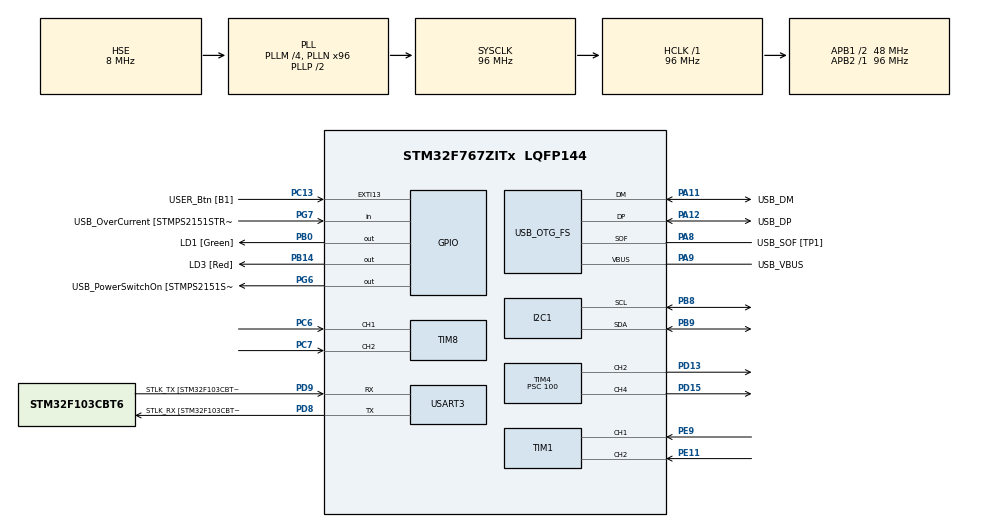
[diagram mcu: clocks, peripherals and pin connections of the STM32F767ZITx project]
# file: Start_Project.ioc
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CORTEX_M7.default_mode_Activation=1
I2C1.Timing=0x20303E5D
Mcu.Family=STM32F7
Mcu.Name=STM32F767ZITx
Mcu.Package=LQFP144
NVIC.PriorityGroup=NVIC_PRIORITYGROUP_4
NVIC.TIM3_IRQn=true\:0\:0\:false\:false\:true\:true\:true\:true
NVIC.USART3_IRQn=true\:0\:0\:false\:false\:true\:true\:true\:true
PA1.GPIO_Label=RMII_REF_CLK [LAN8742A-CZ-TR_REFCLK0]
PA1.Signal=ETH_REF_CLK
PA10.GPIO_Label=USB_ID
PA10.Signal=USB_OTG_FS_ID
PA11.GPIO_Label=USB_DM
PA11.Mode=Device_Only
PA11.Signal=USB_OTG_FS_DM
PA12.GPIO_Label=USB_DP
PA12.Mode=Device_Only
PA12.Signal=USB_OTG_FS_DP
PA13.GPIO_Label=TMS
PA13.Mode=Serial_Wire
PA13.Signal=SYS_JTMS-SWDIO
PA14.GPIO_Label=TCK
PA14.Mode=Serial_Wire
PA14.Signal=SYS_JTCK-SWCLK
PA2.GPIO_Label=RMII_MDIO [LAN8742A-CZ-TR_MDIO]
PA2.Signal=ETH_MDIO
PA8.GPIO_Label=USB_SOF [TP1]
PA8.Mode=Activate_SOF_FS
PA8.Signal=USB_OTG_FS_SOF
PA9.GPIO_Label=USB_VBUS
PA9.Mode=Activate_VBUS
PA9.Signal=USB_OTG_FS_VBUS
PB0.GPIO_Label=LD1 [Green]
PB0.Signal=GPIO_Output
PB13.GPIO_Label=RMII_TXD1 [LAN8742A-CZ-TR_TXD1]
PB13.Signal=ETH_TXD1
PB14.GPIO_Label=LD3 [Red]
PB14.Signal=GPIO_Output
PB3.GPIO_Label=SWO
PB3.Signal=SYS_JTDO-SWO
PB8.Mode=I2C
PB8.Signal=I2C1_SCL
PB9.Mode=I2C
PB9.Signal=I2C1_SDA
PC1.GPIO_Label=RMII_MDC [LAN8742A-CZ-TR_MDC]
PC1.Signal=ETH_MDC
PC13.GPIO_Label=USER_Btn [B1]
PC13.Signal=GPXTI13
PC14/OSC32_IN.Mode=LSE-External-Oscillator
PC14/OSC32_IN.Signal=RCC_OSC32_IN
PC15/OSC32_OUT.Mode=LSE-External-Oscillator
PC15/OSC32_OUT.Signal=RCC_OSC32_OUT
PC4.GPIO_Label=RMII_RXD0 [LAN8742A-CZ-TR_RXD0]
PC4.Signal=ETH_RXD0
PC5.GPIO_Label=RMII_RXD1 [LAN8742A-CZ-TR_RXD1]
PC5.Signal=ETH_RXD1
PC6.GPIO_PuPd=GPIO_PULLUP
PC6.Signal=S_TIM8_CH1
PC7.GPIO_PuPd=GPIO_PULLUP
PC7.Signal=S_TIM8_CH2
PD13.Signal=S_TIM4_CH2
PD15.Signal=S_TIM4_CH4
PD8.GPIO_Label=STLK_RX [STM32F103CBT6_PA3]
PD8.Mode=Asynchronous
PD8.Signal=USART3_TX
PD9.GPIO_Label=STLK_TX [STM32F103CBT6_PA2]
PD9.Mode=Asynchronous
PD9.Signal=USART3_RX
PE11.GPIO_PuPd=GPIO_PULLUP
PE11.Signal=S_TIM1_CH2
PE9.GPIO_PuPd=GPIO_PULLUP
PE9.Signal=S_TIM1_CH1
PG11.GPIO_Label=RMII_TX_EN [LAN8742A-CZ-TR_TXEN]
PG11.Signal=ETH_TX_EN
PG13.GPIO_Label=RMII_TXD0 [LAN8742A-CZ-TR_TXD0]
PG13.Signal=ETH_TXD0
PG6.GPIO_Label=USB_PowerSwitchOn [STMPS2151STR_EN]
PG6.Signal=GPIO_Output
PG7.GPIO_Label=USB_OverCurrent [STMPS2151STR_FAULT]
PG7.Signal=GPIO_Input
PH0/OSC_IN.GPIO_Label=MCO [STM32F103CBT6_PA8]
PH0/OSC_IN.Mode=HSE-External-Clock-Source
PH0/OSC_IN.Signal=RCC_OSC_IN
PH1/OSC_OUT.Mode=HSE-External-Clock-Source
PH1/OSC_OUT.Signal=RCC_OSC_OUT
ProjectManager.HeapSize=0x200
ProjectManager.StackSize=0x400
ProjectManager.TargetToolchain=STM32CubeIDE
RCC.48MHZClocksFreq_Value=24000000
RCC.AHBFreq_Value=96000000
RCC.APB1CLKDivider=RCC_HCLK_DIV2
RCC.APB1Freq_Value=48000000
RCC.APB1TimFreq_Value=96000000
RCC.APB2Freq_Value=96000000
RCC.APB2TimFreq_Value=96000000
RCC.CortexFreq_Value=96000000
RCC.HCLKFreq_Value=96000000
RCC.HSE_VALUE=8000000
RCC.HSI_VALUE=16000000
RCC.PLLM=4
RCC.PLLMUL=RCC_PLL_MUL9
RCC.PLLN=96
RCC.PLLQ=4
RCC.PRESCALERUSB=RCC_USBCLKSOURCE_PLL_DIV1_5
RCC.SYSCLKFreq_VALUE=96000000
RCC.SYSCLKSource=RCC_SYSCLKSOURCE_PLLCLK
RCC.SYSCLKSourceVirtual=RCC_SYSCLKSOURCE_PLLCLK
RCC.USBFreq_Value=48000000
RCC.VCOOutputFreq_Value=192000000
SH.S_TIM1_CH1.0=TIM1_CH1,Encoder_Interface
SH.S_TIM1_CH2.0=TIM1_CH2,Encoder_Interface
SH.S_TIM4_CH2.0=TIM4_CH2,PWM Generation2 CH2
SH.S_TIM4_CH4.0=TIM4_CH4,PWM Generation4 CH4
SH.S_TIM8_CH1.0=TIM8_CH1,Encoder_Interface
SH.S_TIM8_CH2.0=TIM8_CH2,Encoder_Interface
TIM1.EncoderMode=TIM_ENCODERMODE_TI12
TIM1.IC1Filter=10
TIM1.IC2Filter=10
TIM3.AutoReloadPreload=TIM_AUTORELOAD_PRELOAD_ENABLE
TIM3.Period=1999
TIM3.Prescaler=9599
TIM4.Channel-PWM\ Generation2\ CH2=TIM_CHANNEL_2
TIM4.Channel-PWM\ Generation4\ CH4=TIM_CHANNEL_4
TIM4.Period=1000
TIM4.Prescaler=100
TIM8.EncoderMode=TIM_ENCODERMODE_TI12
TIM8.IC1Filter=10
TIM8.IC2Filter=10
USART3.VirtualMode-Asynchronous=VM_ASYNC
USB_OTG_FS.VirtualMode=Device_Only
VP_TIM3_VS_ClockSourceINT.Mode=Internal
board=NUCLEO-F767ZI

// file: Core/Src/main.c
/* USER CODE BEGIN Header */
/**
  ******************************************************************************
  * @file           : main.c
  * @brief          : Main program body
  ******************************************************************************
  * @attention
  *
  * Copyright (c) 2026 STMicroelectronics.
  * All rights reserved.
  *
  * This software is licensed under terms that can be found in the LICENSE file
  * in the root directory of this software component.
  * If no LICENSE file comes with this software, it is provided AS-IS.
  *
  ******************************************************************************
  */
/* USER CODE END Header */
#include "main.h"

/* USER CODE BEGIN Includes */
#include "controller.h"
#include <stdio.h>
#include "ssd1306.h"
#include "ssd1306_fonts.h"
#include <string.h>
#include <stdlib.h>
/* USER CODE END Includes */

I2C_HandleTypeDef hi2c1;

TIM_HandleTypeDef htim1;
TIM_HandleTypeDef htim3;
TIM_HandleTypeDef htim4;
TIM_HandleTypeDef htim8;

UART_HandleTypeDef huart3;

PCD_HandleTypeDef hpcd_USB_OTG_FS;

/* USER CODE BEGIN PV */
volatile uint8_t run_controller_flag = 0;

volatile uint8_t uart_msg_received = 0;

char bufor[50];
int counterskb = 0;
int steop=50;
int luxes = 0;

uint8_t rx_data;
char rx_buffer[50];
uint8_t rx_index = 0;

int position = 0;
uint32_t last_counter_value = 32000;

extern volatile SystemState sys_state;
/* USER CODE END PV */

void SystemClock_Config(void);
static void MPU_Config(void);
static void MX_GPIO_Init(void);
static void MX_USART3_UART_Init(void);
static void MX_USB_OTG_FS_PCD_Init(void);
static void MX_I2C1_Init(void);
static void MX_TIM4_Init(void);
static void MX_TIM1_Init(void);
static void MX_TIM3_Init(void);
static void MX_TIM8_Init(void);

/* USER CODE BEGIN 0 */

extern TIM_HandleTypeDef htim1;
extern TIM_HandleTypeDef htim4;

extern int position; // brightness var
extern uint32_t last_counter_value; // global encoder var

// helper for xor calc
uint8_t Calculate_Checksum(char* str) {
    uint8_t checksum = 0;
    while (*str) {
        checksum ^= *str; // xor every char
        str++;
    }
    return checksum;
}

void Parse_UART_Command() {
    // 1. check checksum
    char *semicolon_ptr = strchr(rx_buffer, ';');
    if (semicolon_ptr != NULL) {
        *semicolon_ptr = 0;
        char *checksum_str = semicolon_ptr + 1;
        int received_checksum = atoi(checksum_str);
        int calculated_checksum = Calculate_Checksum(rx_buffer);

        if (received_checksum != calculated_checksum) {
            static char err_msg[64];
            sprintf(err_msg, "CHECKSUM ERROR (Recv:%d != Calc:%d)\r\n", received_checksum, calculated_checksum);
            // blocking now (100ms timeout)
            HAL_UART_Transmit(&huart3, (uint8_t*)err_msg, strlen(err_msg), 100);
            return;
        }
    }

    // 2. command handling

    // PRCT
    if (strncmp(rx_buffer, "PRCT", 4) == 0) {
        int value = atoi(&rx_buffer[5]);
        if (value > 100) value = 100;
        if (value < 0) value = 0;
        position = value;
        __HAL_TIM_SET_COMPARE(&htim4, TIM_CHANNEL_4, position * 10);

        char *msg = "OK PRCT";
        uint8_t csum = Calculate_Checksum(msg);
        char resp[32];
        sprintf(resp, "%s;%d\r\n", msg, csum);
        // blocking now
        HAL_UART_Transmit(&huart3, (uint8_t*)resp, strlen(resp), 100);
    }

    // SET
    else if (strncmp(rx_buffer, "SET", 3) == 0) {
        int value = atoi(&rx_buffer[4]);
        if (value > 2000) value = 2000;
        if (value < 0) value = 0;

        sys_state.setpoint_lux = value;
        __HAL_TIM_SET_COUNTER(&htim8, value * 2);

        char *msg = "OK SET";
        uint8_t csum = Calculate_Checksum(msg);
        char resp[32];
        sprintf(resp, "%s;%d\r\n", msg, csum);
        // blocking now
        HAL_UART_Transmit(&huart3, (uint8_t*)resp, strlen(resp), 100);
    }

    // GET INFO
    else if (strncmp(rx_buffer, "GET INFO", 8) == 0) {
        char data_part[64];
        char full_msg[80];
        sprintf(data_part, "INFO %d %d", sys_state.setpoint_lux, position);
        uint8_t csum = Calculate_Checksum(data_part);
        sprintf(full_msg, "%s;%d\r\n", data_part, csum);

        // blocking now - crucial for polling stability
        HAL_UART_Transmit(&huart3, (uint8_t*)full_msg, strlen(full_msg), 100);
    }
}

// callback (just for safety)
void HAL_UART_RxCpltCallback(UART_HandleTypeDef *huart)
{
    if (huart->Instance == USART3) {
        if (rx_data == '\n' || rx_data == '\r') {
            rx_buffer[rx_index] = 0;
            // just set flag, don't parse here
            uart_msg_received = 1;
            rx_index = 0;
        }
        else {
            if (rx_index < 49) rx_buffer[rx_index++] = rx_data;
        }
        HAL_UART_Receive_IT(&huart3, &rx_data, 1);
    }
}
/* USER CODE END 0 */

int main(void)
{

  /* MPU Configuration--------------------------------------------------------*/
  MPU_Config();

  /* MCU Configuration--------------------------------------------------------*/

  /* Reset of all peripherals, Initializes the Flash interface and the Systick. */
  HAL_Init();

  /* Configure the system clock */
  SystemClock_Config();

  /* Initialize all configured peripherals */
  MX_GPIO_Init();
  MX_USART3_UART_Init();
  MX_USB_OTG_FS_PCD_Init();
  MX_I2C1_Init();
  MX_TIM4_Init();
  MX_TIM1_Init();
  MX_TIM3_Init();
  MX_TIM8_Init();
  /* USER CODE BEGIN 2 */
  ssd1306_Init();
  ssd1306_Fill(Black);
  ssd1306_UpdateScreen();

  /*check if it sees the device*/
  /*HAL_Delay(100);
    for(uint16_t i=0; i<128; i++) {
        if(HAL_I2C_IsDeviceReady(&hi2c1, (i<<1), 1, 10) == HAL_OK) {
            HAL_GPIO_WritePin(LD1_GPIO_Port, LD1_Pin, GPIO_PIN_SET);
            break;
        }
    }*/
/*
  ssd1306_Init();
  ssd1306_Fill(Black);
  ssd1306_SetCursor(10, 20);
  ssd1306_WriteString("skibidi", Font_11x18, White);
  ssd1306_SetCursor(10, 45);
  ssd1306_WriteString("toilet", Font_7x10, White);
  ssd1306_UpdateScreen();
*/

  	ssd1306_Init();
    ssd1306_Fill(Black);

    // 1. start encoder (now on TIM1)
    HAL_TIM_Encoder_Start(&htim1, TIM_CHANNEL_ALL);

    // 2. start led (now TIM4 CH4)
    HAL_TIM_PWM_Start(&htim4, TIM_CHANNEL_4);

    HAL_TIM_Encoder_Start(&htim8, TIM_CHANNEL_ALL); // encoder 2 (target)
    HAL_TIM_PWM_Start(&htim4, TIM_CHANNEL_2);       // led 2 (pid control)

    HAL_TIM_Base_Start_IT(&htim3);
    HAL_UART_Receive_IT(&huart3, &rx_data, 1);

    uint8_t bh_cmd = 0x10; // cmd: continuous high-res
    HAL_I2C_Master_Transmit(&hi2c1, (0x23 << 1), &bh_cmd, 1, 100);

    // set encoder to center
    __HAL_TIM_SET_COUNTER(&htim1, 32000);
    __HAL_TIM_SET_COUNTER(&htim8, 100);   // target start 100 lux (200/2)
  /* USER CODE END 2 */

  /* Infinite loop */
  /* USER CODE BEGIN WHILE */

  while (1)
  {
	  // controller logic (every 200ms)
	        if (run_controller_flag == 1) {
	            run_controller_flag = 0;
	            Controller_Step();
	        }

	        // >>> NEW: safe uart handling <<<
	        if (uart_msg_received == 1) {
	            uart_msg_received = 0; // clear flag
	            Parse_UART_Command();  // run logic
	        }
    /* USER CODE END WHILE */

    /* USER CODE BEGIN 3 */
	  // need state var
	      extern volatile SystemState sys_state;

	      // --- ENCODER 1 HANDLING (DISTURBANCE) ---
	      // (no changes - controls led 1)
	      uint32_t current_counter = __HAL_TIM_GET_COUNTER(&htim1);
	      int16_t diff = (int16_t)(current_counter - last_counter_value);
	      if (diff != 0) {
	          if(diff > 0) position += 5;
	          else position -= 5;
	          if (position > 100) position = 100;
	          if (position < 0) position = 0;
	          last_counter_value = current_counter;
	      }
	      // drive disturbance led
	      __HAL_TIM_SET_COMPARE(&htim4, TIM_CHANNEL_4, position * 10);

	      // --- OLED DISPLAY ---
	      ssd1306_Fill(Black);

	      // Line 1: TARGET (Setpoint) - turn Encoder 2
	      sprintf(bufor, "AIM: %d Lx", sys_state.setpoint_lux);
	      ssd1306_SetCursor(0, 0);
	      ssd1306_WriteString(bufor, Font_11x18, White);

	      // Line 2: CURRENT (Measurement) - from sensor
	      sprintf(bufor, "ACT: %.1f", sys_state.current_lux);
	      ssd1306_SetCursor(0, 20);
	      ssd1306_WriteString(bufor, Font_11x18, White);

	      // Line 3: PID DIAGNOSTICS (Control LED power)
	      // shows pid effort
	      int pid_pct = sys_state.control_signal / 10; // 0-1000 -> 0-100%
	      sprintf(bufor, "PI:%d%% D:%d%%", pid_pct, position);
	      ssd1306_SetCursor(0, 45);
	      ssd1306_WriteString(bufor, Font_7x10, White);

	      ssd1306_UpdateScreen();
	    }
  /* USER CODE END 3 */
}

void SystemClock_Config(void)
{
  RCC_OscInitTypeDef RCC_OscInitStruct = {0};
  RCC_ClkInitTypeDef RCC_ClkInitStruct = {0};

  /** Configure LSE Drive Capability
  */
  HAL_PWR_EnableBkUpAccess();

  /** Configure the main internal regulator output voltage
  */
  __HAL_RCC_PWR_CLK_ENABLE();
  __HAL_PWR_VOLTAGESCALING_CONFIG(PWR_REGULATOR_VOLTAGE_SCALE3);

  /** Initializes the RCC Oscillators according to the specified parameters
  * in the RCC_OscInitTypeDef structure.
  */
  RCC_OscInitStruct.OscillatorType = RCC_OSCILLATORTYPE_HSE;
  RCC_OscInitStruct.HSEState = RCC_HSE_BYPASS;
  RCC_OscInitStruct.PLL.PLLState = RCC_PLL_ON;
  RCC_OscInitStruct.PLL.PLLSource = RCC_PLLSOURCE_HSE;
  RCC_OscInitStruct.PLL.PLLM = 4;
  RCC_OscInitStruct.PLL.PLLN = 96;
  RCC_OscInitStruct.PLL.PLLP = RCC_PLLP_DIV2;
  RCC_OscInitStruct.PLL.PLLQ = 4;
  RCC_OscInitStruct.PLL.PLLR = 2;
  if (HAL_RCC_OscConfig(&RCC_OscInitStruct) != HAL_OK)
  {
    Error_Handler();
  }

  /** Activate the Over-Drive mode
  */
  if (HAL_PWREx_EnableOverDrive() != HAL_OK)
  {
    Error_Handler();
  }

  /** Initializes the CPU, AHB and APB buses clocks
  */
  RCC_ClkInitStruct.ClockType = RCC_CLOCKTYPE_HCLK|RCC_CLOCKTYPE_SYSCLK
                              |RCC_CLOCKTYPE_PCLK1|RCC_CLOCKTYPE_PCLK2;
  RCC_ClkInitStruct.SYSCLKSource = RCC_SYSCLKSOURCE_PLLCLK;
  RCC_ClkInitStruct.AHBCLKDivider = RCC_SYSCLK_DIV1;
  RCC_ClkInitStruct.APB1CLKDivider = RCC_HCLK_DIV2;
  RCC_ClkInitStruct.APB2CLKDivider = RCC_HCLK_DIV1;

  if (HAL_RCC_ClockConfig(&RCC_ClkInitStruct, FLASH_LATENCY_3) != HAL_OK)
  {
    Error_Handler();
  }
}

static void MX_I2C1_Init(void)
{

  hi2c1.Instance = I2C1;
  hi2c1.Init.Timing = 0x20303E5D;
  hi2c1.Init.OwnAddress1 = 0;
  hi2c1.Init.AddressingMode = I2C_ADDRESSINGMODE_7BIT;
  hi2c1.Init.DualAddressMode = I2C_DUALADDRESS_DISABLE;
  hi2c1.Init.OwnAddress2 = 0;
  hi2c1.Init.OwnAddress2Masks = I2C_OA2_NOMASK;
  hi2c1.Init.GeneralCallMode = I2C_GENERALCALL_DISABLE;
  hi2c1.Init.NoStretchMode = I2C_NOSTRETCH_DISABLE;
  if (HAL_I2C_Init(&hi2c1) != HAL_OK)
  {
    Error_Handler();
  }

  /** Configure Analogue filter
  */
  if (HAL_I2CEx_ConfigAnalogFilter(&hi2c1, I2C_ANALOGFILTER_ENABLE) != HAL_OK)
  {
    Error_Handler();
  }

  /** Configure Digital filter
  */
  if (HAL_I2CEx_ConfigDigitalFilter(&hi2c1, 0) != HAL_OK)
  {
    Error_Handler();
  }

}

static void MX_TIM1_Init(void)
{

  TIM_Encoder_InitTypeDef sConfig = {0};
  TIM_MasterConfigTypeDef sMasterConfig = {0};

  htim1.Instance = TIM1;
  htim1.Init.Prescaler = 0;
  htim1.Init.CounterMode = TIM_COUNTERMODE_UP;
  htim1.Init.Period = 65535;
  htim1.Init.ClockDivision = TIM_CLOCKDIVISION_DIV1;
  htim1.Init.RepetitionCounter = 0;
  htim1.Init.AutoReloadPreload = TIM_AUTORELOAD_PRELOAD_DISABLE;
  sConfig.EncoderMode = TIM_ENCODERMODE_TI12;
  sConfig.IC1Polarity = TIM_ICPOLARITY_RISING;
  sConfig.IC1Selection = TIM_ICSELECTION_DIRECTTI;
  sConfig.IC1Prescaler = TIM_ICPSC_DIV1;
  sConfig.IC1Filter = 10;
  sConfig.IC2Polarity = TIM_ICPOLARITY_RISING;
  sConfig.IC2Selection = TIM_ICSELECTION_DIRECTTI;
  sConfig.IC2Prescaler = TIM_ICPSC_DIV1;
  sConfig.IC2Filter = 10;
  if (HAL_TIM_Encoder_Init(&htim1, &sConfig) != HAL_OK)
  {
    Error_Handler();
  }
  sMasterConfig.MasterOutputTrigger = TIM_TRGO_RESET;
  sMasterConfig.MasterOutputTrigger2 = TIM_TRGO2_RESET;
  sMasterConfig.MasterSlaveMode = TIM_MASTERSLAVEMODE_DISABLE;
  if (HAL_TIMEx_MasterConfigSynchronization(&htim1, &sMasterConfig) != HAL_OK)
  {
    Error_Handler();
  }

}

static void MX_TIM3_Init(void)
{

  TIM_ClockConfigTypeDef sClockSourceConfig = {0};
  TIM_MasterConfigTypeDef sMasterConfig = {0};

  htim3.Instance = TIM3;
  htim3.Init.Prescaler = 9599;
  htim3.Init.CounterMode = TIM_COUNTERMODE_UP;
  htim3.Init.Period = 1999;
  htim3.Init.ClockDivision = TIM_CLOCKDIVISION_DIV1;
  htim3.Init.AutoReloadPreload = TIM_AUTORELOAD_PRELOAD_ENABLE;
  if (HAL_TIM_Base_Init(&htim3) != HAL_OK)
  {
    Error_Handler();
  }
  sClockSourceConfig.ClockSource = TIM_CLOCKSOURCE_INTERNAL;
  if (HAL_TIM_ConfigClockSource(&htim3, &sClockSourceConfig) != HAL_OK)
  {
    Error_Handler();
  }
  sMasterConfig.MasterOutputTrigger = TIM_TRGO_RESET;
  sMasterConfig.MasterSlaveMode = TIM_MASTERSLAVEMODE_DISABLE;
  if (HAL_TIMEx_MasterConfigSynchronization(&htim3, &sMasterConfig) != HAL_OK)
  {
    Error_Handler();
  }

}

static void MX_TIM4_Init(void)
{

  TIM_MasterConfigTypeDef sMasterConfig = {0};
  TIM_OC_InitTypeDef sConfigOC = {0};

  htim4.Instance = TIM4;
  htim4.Init.Prescaler = 100;
  htim4.Init.CounterMode = TIM_COUNTERMODE_UP;
  htim4.Init.Period = 1000;
  htim4.Init.ClockDivision = TIM_CLOCKDIVISION_DIV1;
  htim4.Init.AutoReloadPreload = TIM_AUTORELOAD_PRELOAD_DISABLE;
  if (HAL_TIM_PWM_Init(&htim4) != HAL_OK)
  {
    Error_Handler();
  }
  sMasterConfig.MasterOutputTrigger = TIM_TRGO_RESET;
  sMasterConfig.MasterSlaveMode = TIM_MASTERSLAVEMODE_DISABLE;
  if (HAL_TIMEx_MasterConfigSynchronization(&htim4, &sMasterConfig) != HAL_OK)
  {
    Error_Handler();
  }
  sConfigOC.OCMode = TIM_OCMODE_PWM1;
  sConfigOC.Pulse = 0;
  sConfigOC.OCPolarity = TIM_OCPOLARITY_HIGH;
  sConfigOC.OCFastMode = TIM_OCFAST_DISABLE;
  if (HAL_TIM_PWM_ConfigChannel(&htim4, &sConfigOC, TIM_CHANNEL_2) != HAL_OK)
  {
    Error_Handler();
  }
  if (HAL_TIM_PWM_ConfigChannel(&htim4, &sConfigOC, TIM_CHANNEL_4) != HAL_OK)
  {
    Error_Handler();
  }
  HAL_TIM_MspPostInit(&htim4);

}

static void MX_TIM8_Init(void)
{

  TIM_Encoder_InitTypeDef sConfig = {0};
  TIM_MasterConfigTypeDef sMasterConfig = {0};

  htim8.Instance = TIM8;
  htim8.Init.Prescaler = 0;
  htim8.Init.CounterMode = TIM_COUNTERMODE_UP;
  htim8.Init.Period = 65535;
  htim8.Init.ClockDivision = TIM_CLOCKDIVISION_DIV1;
  htim8.Init.RepetitionCounter = 0;
  htim8.Init.AutoReloadPreload = TIM_AUTORELOAD_PRELOAD_DISABLE;
  sConfig.EncoderMode = TIM_ENCODERMODE_TI12;
  sConfig.IC1Polarity = TIM_ICPOLARITY_RISING;
  sConfig.IC1Selection = TIM_ICSELECTION_DIRECTTI;
  sConfig.IC1Prescaler = TIM_ICPSC_DIV1;
  sConfig.IC1Filter = 10;
  sConfig.IC2Polarity = TIM_ICPOLARITY_RISING;
  sConfig.IC2Selection = TIM_ICSELECTION_DIRECTTI;
  sConfig.IC2Prescaler = TIM_ICPSC_DIV1;
  sConfig.IC2Filter = 10;
  if (HAL_TIM_Encoder_Init(&htim8, &sConfig) != HAL_OK)
  {
    Error_Handler();
  }
  sMasterConfig.MasterOutputTrigger = TIM_TRGO_RESET;
  sMasterConfig.MasterOutputTrigger2 = TIM_TRGO2_RESET;
  sMasterConfig.MasterSlaveMode = TIM_MASTERSLAVEMODE_DISABLE;
  if (HAL_TIMEx_MasterConfigSynchronization(&htim8, &sMasterConfig) != HAL_OK)
  {
    Error_Handler();
  }

}

static void MX_USART3_UART_Init(void)
{

  huart3.Instance = USART3;
  huart3.Init.BaudRate = 115200;
  huart3.Init.WordLength = UART_WORDLENGTH_8B;
  huart3.Init.StopBits = UART_STOPBITS_1;
  huart3.Init.Parity = UART_PARITY_NONE;
  huart3.Init.Mode = UART_MODE_TX_RX;
  huart3.Init.HwFlowCtl = UART_HWCONTROL_NONE;
  huart3.Init.OverSampling = UART_OVERSAMPLING_16;
  huart3.Init.OneBitSampling = UART_ONE_BIT_SAMPLE_DISABLE;
  huart3.AdvancedInit.AdvFeatureInit = UART_ADVFEATURE_NO_INIT;
  if (HAL_UART_Init(&huart3) != HAL_OK)
  {
    Error_Handler();
  }

}

static void MX_USB_OTG_FS_PCD_Init(void)
{

  hpcd_USB_OTG_FS.Instance = USB_OTG_FS;
  hpcd_USB_OTG_FS.Init.dev_endpoints = 6;
  hpcd_USB_OTG_FS.Init.speed = PCD_SPEED_FULL;
  hpcd_USB_OTG_FS.Init.dma_enable = DISABLE;
  hpcd_USB_OTG_FS.Init.phy_itface = PCD_PHY_EMBEDDED;
  hpcd_USB_OTG_FS.Init.Sof_enable = ENABLE;
  hpcd_USB_OTG_FS.Init.low_power_enable = DISABLE;
  hpcd_USB_OTG_FS.Init.lpm_enable = DISABLE;
  hpcd_USB_OTG_FS.Init.vbus_sensing_enable = ENABLE;
  hpcd_USB_OTG_FS.Init.use_dedicated_ep1 = DISABLE;
  if (HAL_PCD_Init(&hpcd_USB_OTG_FS) != HAL_OK)
  {
    Error_Handler();
  }

}

static void MX_GPIO_Init(void)
{
  GPIO_InitTypeDef GPIO_InitStruct = {0};

  /* GPIO Ports Clock Enable */
  __HAL_RCC_GPIOC_CLK_ENABLE();
  __HAL_RCC_GPIOH_CLK_ENABLE();
  __HAL_RCC_GPIOA_CLK_ENABLE();
  __HAL_RCC_GPIOB_CLK_ENABLE();
  __HAL_RCC_GPIOE_CLK_ENABLE();
  __HAL_RCC_GPIOD_CLK_ENABLE();
  __HAL_RCC_GPIOG_CLK_ENABLE();

  /*Configure GPIO pin Output Level */
  HAL_GPIO_WritePin(GPIOB, LD1_Pin|LD3_Pin, GPIO_PIN_RESET);

  /*Configure GPIO pin Output Level */
  HAL_GPIO_WritePin(USB_PowerSwitchOn_GPIO_Port, USB_PowerSwitchOn_Pin, GPIO_PIN_RESET);

  /*Configure GPIO pin : USER_Btn_Pin */
  GPIO_InitStruct.Pin = USER_Btn_Pin;
  GPIO_InitStruct.Mode = GPIO_MODE_IT_RISING;
  GPIO_InitStruct.Pull = GPIO_NOPULL;
  HAL_GPIO_Init(USER_Btn_GPIO_Port, &GPIO_InitStruct);

  /*Configure GPIO pins : RMII_MDC_Pin RMII_RXD0_Pin RMII_RXD1_Pin */
  GPIO_InitStruct.Pin = RMII_MDC_Pin|RMII_RXD0_Pin|RMII_RXD1_Pin;
  GPIO_InitStruct.Mode = GPIO_MODE_AF_PP;
  GPIO_InitStruct.Pull = GPIO_NOPULL;
  GPIO_InitStruct.Speed = GPIO_SPEED_FREQ_HIGH;
  GPIO_InitStruct.Alternate = GPIO_AF11_ETH;
  HAL_GPIO_Init(GPIOC, &GPIO_InitStruct);

  /*Configure GPIO pins : RMII_REF_CLK_Pin RMII_MDIO_Pin */
  GPIO_InitStruct.Pin = RMII_REF_CLK_Pin|RMII_MDIO_Pin;
  GPIO_InitStruct.Mode = GPIO_MODE_AF_PP;
  GPIO_InitStruct.Pull = GPIO_NOPULL;
  GPIO_InitStruct.Speed = GPIO_SPEED_FREQ_HIGH;
  GPIO_InitStruct.Alternate = GPIO_AF11_ETH;
  HAL_GPIO_Init(GPIOA, &GPIO_InitStruct);

  /*Configure GPIO pins : LD1_Pin LD3_Pin */
  GPIO_InitStruct.Pin = LD1_Pin|LD3_Pin;
  GPIO_InitStruct.Mode = GPIO_MODE_OUTPUT_PP;
  GPIO_InitStruct.Pull = GPIO_NOPULL;
  GPIO_InitStruct.Speed = GPIO_SPEED_FREQ_LOW;
  HAL_GPIO_Init(GPIOB, &GPIO_InitStruct);

  /*Configure GPIO pin : RMII_TXD1_Pin */
  GPIO_InitStruct.Pin = RMII_TXD1_Pin;
  GPIO_InitStruct.Mode = GPIO_MODE_AF_PP;
  GPIO_InitStruct.Pull = GPIO_NOPULL;
  GPIO_InitStruct.Speed = GPIO_SPEED_FREQ_HIGH;
  GPIO_InitStruct.Alternate = GPIO_AF11_ETH;
  HAL_GPIO_Init(RMII_TXD1_GPIO_Port, &GPIO_InitStruct);

  /*Configure GPIO pin : USB_PowerSwitchOn_Pin */
  GPIO_InitStruct.Pin = USB_PowerSwitchOn_Pin;
  GPIO_InitStruct.Mode = GPIO_MODE_OUTPUT_PP;
  GPIO_InitStruct.Pull = GPIO_NOPULL;
  GPIO_InitStruct.Speed = GPIO_SPEED_FREQ_LOW;
  HAL_GPIO_Init(USB_PowerSwitchOn_GPIO_Port, &GPIO_InitStruct);

  /*Configure GPIO pin : USB_OverCurrent_Pin */
  GPIO_InitStruct.Pin = USB_OverCurrent_Pin;
  GPIO_InitStruct.Mode = GPIO_MODE_INPUT;
  GPIO_InitStruct.Pull = GPIO_NOPULL;
  HAL_GPIO_Init(USB_OverCurrent_GPIO_Port, &GPIO_InitStruct);

  /*Configure GPIO pins : RMII_TX_EN_Pin RMII_TXD0_Pin */
  GPIO_InitStruct.Pin = RMII_TX_EN_Pin|RMII_TXD0_Pin;
  GPIO_InitStruct.Mode = GPIO_MODE_AF_PP;
  GPIO_InitStruct.Pull = GPIO_NOPULL;
  GPIO_InitStruct.Speed = GPIO_SPEED_FREQ_HIGH;
  GPIO_InitStruct.Alternate = GPIO_AF11_ETH;
  HAL_GPIO_Init(GPIOG, &GPIO_InitStruct);

}

/* USER CODE BEGIN 4 */
// called automatically every 200ms
void HAL_TIM_PeriodElapsedCallback(TIM_HandleTypeDef *htim)
{
    if (htim->Instance == TIM3) {
        // Do NOT run complex code here. Just set the flag.
        run_controller_flag = 1;
    }
}
/* USER CODE END 4 */

 /* MPU Configuration */

void MPU_Config(void)
{
  MPU_Region_InitTypeDef MPU_InitStruct = {0};

  /* Disables the MPU */
  HAL_MPU_Disable();

  /** Initializes and configures the Region and the memory to be protected
  */
  MPU_InitStruct.Enable = MPU_REGION_ENABLE;
  MPU_InitStruct.Number = MPU_REGION_NUMBER0;
  MPU_InitStruct.BaseAddress = 0x0;
  MPU_InitStruct.Size = MPU_REGION_SIZE_4GB;
  MPU_InitStruct.SubRegionDisable = 0x87;
  MPU_InitStruct.TypeExtField = MPU_TEX_LEVEL0;
  MPU_InitStruct.AccessPermission = MPU_REGION_NO_ACCESS;
  MPU_InitStruct.DisableExec = MPU_INSTRUCTION_ACCESS_DISABLE;
  MPU_InitStruct.IsShareable = MPU_ACCESS_SHAREABLE;
  MPU_InitStruct.IsCacheable = MPU_ACCESS_NOT_CACHEABLE;
  MPU_InitStruct.IsBufferable = MPU_ACCESS_NOT_BUFFERABLE;

  HAL_MPU_ConfigRegion(&MPU_InitStruct);
  /* Enables the MPU */
  HAL_MPU_Enable(MPU_PRIVILEGED_DEFAULT);

}

void Error_Handler(void)
{
  __disable_irq();
  while (1)
  {
  }
}
